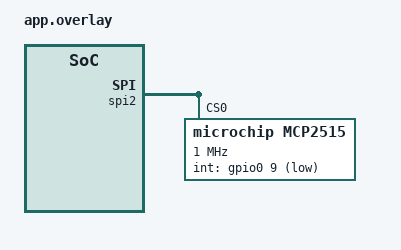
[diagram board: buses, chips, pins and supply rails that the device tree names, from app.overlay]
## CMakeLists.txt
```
cmake_minimum_required(VERSION 3.20.0)

find_package(Zephyr REQUIRED HINTS $ENV{ZEPHYR_BASE})
project(can)

target_sources(app PRIVATE src/main.c)
```

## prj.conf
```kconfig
CONFIG_CAN=y
CONFIG_CAN_INIT_PRIORITY=80
CONFIG_CAN_MCP2515=y

CONFIG_MAIN_STACK_SIZE=2048
CONFIG_LOG=y
CONFIG_LOG_MODE_IMMEDIATE=y

CONFIG_LOG_DEFAULT_LEVEL=3

CONFIG_GPIO=y
CONFIG_SPI=y
```

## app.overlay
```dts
&spi2 {
    status = "okay";
    mcp2515: mcp2515@0 {
        compatible = "microchip,mcp2515";
        reg = <0>;                          // SPI Chip Select (CS)
        spi-max-frequency = <1000000>;      // SPI Clock
        int-gpios = <&gpio0 9 GPIO_ACTIVE_LOW>;  // INT pin (change if needed)
        osc-freq = <8000000>;               // MCP2515 crystal oscillator (8 MHz)
        status = "okay";
        bus-speed = <500000>;               //CAN bitrate = 500 kbps
    };
};
```

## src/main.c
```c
#include <zephyr/kernel.h>
#include <zephyr/device.h>
#include <zephyr/drivers/can.h>
#include <zephyr/logging/log.h>

LOG_MODULE_REGISTER(can_tx_app, LOG_LEVEL_INF);

#define CAN_ID_TX 0x35
#define CAN_ID_RX 0x30

const struct device *can_dev;
static volatile bool rx_flag = false;


static void can_rx_callback(const struct device *dev, struct can_frame *frame, void *user_data)
{   
    if (frame->id == CAN_ID_RX)
    {
        rx_flag = true;
        printk("Received id: 0x%02X \n", frame->id);
        printk("Received byte : ");
        for(uint8_t i=0;i<frame->dlc;i++)
            printk(" 0x%02X", frame->data[i]);
        printk("\n");
    }
   
}

int main(void)
{
    can_dev = DEVICE_DT_GET(DT_NODELABEL(mcp2515));
    if (!device_is_ready(can_dev)) {
        LOG_ERR("CAN device not ready");
        return 0;
    }

    LOG_INF("CAN device ready");

    if (can_start(can_dev) != 0) {
        LOG_ERR("CAN start failed");
        return 0;
    }

    struct can_filter filter = {
        .id = CAN_ID_RX,
        .mask = CAN_STD_ID_MASK,
        .flags = 0,
    };
    can_add_rx_filter(can_dev, can_rx_callback, NULL, &filter);

    struct can_frame tx_frame = {
        .id = CAN_ID_TX,
        .dlc = 8,
        .flags = 0,
        .data = {0xAB,0xCD,0x98,0x32,0x23,0xAB,0xCD,0x98}
    };

    while (1) {
    rx_flag = false;
       
    if (can_send(can_dev, &tx_frame, K_MSEC(100), NULL, NULL) == 0) {
       printk("Sent id: 0x%02X \n", tx_frame.id);
       printk("Sent data : ");
        for(uint8_t i=0;i<tx_frame.dlc;i++)
            printk(" 0x%02X", tx_frame.data[i]);
        printk("\n");    
    } 
    else {
            LOG_ERR("Failed to send");
        }    
        int64_t start = k_uptime_get();
        while (!rx_flag && k_uptime_get() - start < 3000)
        {
            k_msleep(10);
        }

        if (!rx_flag) {
            LOG_WRN("No response received");
        }

        k_sleep(K_SECONDS(3));
    }
}
```
